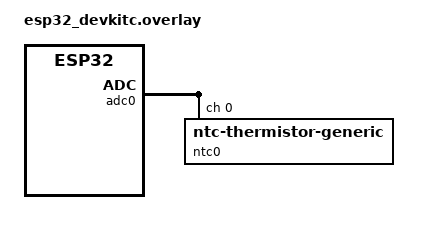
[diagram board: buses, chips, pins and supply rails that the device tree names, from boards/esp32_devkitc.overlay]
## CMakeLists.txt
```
#
# Copyright (c) 2024 Raghu Malluri
#
# SPDX-License-Identifier: Apache-2.0
#

cmake_minimum_required(VERSION 3.20.0)
find_package(Zephyr REQUIRED HINTS $ENV{ZEPHYR_BASE})
project(ntc_thermistor)

FILE(GLOB app_sources src/*.c)
target_sources(app PRIVATE ${app_sources})
```

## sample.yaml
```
sample:
  name: NTC Thermistor Generic
  description: Read temperature from an NTC thermistor using the generic driver

tests:
  sample.sensor.ntc_thermistor:
    tags: sensors
    depends_on: adc
    platform_allow:
      - esp32_devkitc
    integration_platforms:
      - esp32_devkitc
```

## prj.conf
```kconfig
CONFIG_ADC=y
CONFIG_SENSOR=y
CONFIG_NTC_THERMISTOR=y
CONFIG_CBPRINTF_FP_SUPPORT=y
```

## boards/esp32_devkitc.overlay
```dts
/*
 * Copyright (c) 2026 Malluri Sai Raghu
 *
 * SPDX-License-Identifier: Apache-2.0
 */

/ {
	aliases {
		ntc-thermistor = &ntc0;
	};
};

&adc0 {
	#address-cells = <1>;
	#size-cells = <0>;

	ntc0: ntc_thermistor@0 {
		compatible = "ntc-thermistor-generic";
		reg = <0>;
		zephyr,gain = "ADC_GAIN_1";
		zephyr,reference = "ADC_REF_INTERNAL";
		zephyr,acquisition-time = <ADC_ACQ_TIME_DEFAULT>;
		zephyr,resolution = <12>;
		zephyr,oversampling = <0>;
		pullup-uv = <3300000>;
		pullup-ohm = <0>;
		pulldown-ohm = <10000>;
		connected-positive;
		zephyr,compensation-table = <(-20) 105384>,
					    <(-15) 77898>,
					    <(-10) 58245>,
					    <(-5) 44026>,
					    <(0) 33620>,
					    <(5) 25924>,
					    <(10) 20174>,
					    <(15) 15837>,
					    <(20) 12535>,
					    <(25) 10000>,
					    <(30) 8037>,
					    <(35) 6505>,
					    <(40) 5301>,
					    <(45) 4348>,
					    <(50) 3588>,
					    <(55) 2978>,
					    <(60) 2486>,
					    <(65) 2086>,
					    <(70) 1759>,
					    <(75) 1491>,
					    <(80) 1270>;
	};
};
```

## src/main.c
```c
/*
 * Copyright (c) 2026 Malluri Sai Raghu
 *
 * SPDX-License-Identifier: Apache-2.0
 */

#include <zephyr/kernel.h>
#include <zephyr/device.h>
#include <zephyr/drivers/sensor.h>
#include <stdio.h>

#define NTC_NODE DT_ALIAS(ntc_thermistor)

int main(void)
{
	const struct device *dev = DEVICE_DT_GET(NTC_NODE);
	struct sensor_value temp;

	if (!device_is_ready(dev)) {
		printf("NTC thermistor device not ready\n");
		return -1;
	}

	while (1) {
		sensor_sample_fetch(dev);
		sensor_channel_get(dev, SENSOR_CHAN_AMBIENT_TEMP, &temp);
		printf("Temperature: %d.%06d C\n", temp.val1, temp.val2);
		k_sleep(K_MSEC(1000));
	}

	return 0;
}
```
